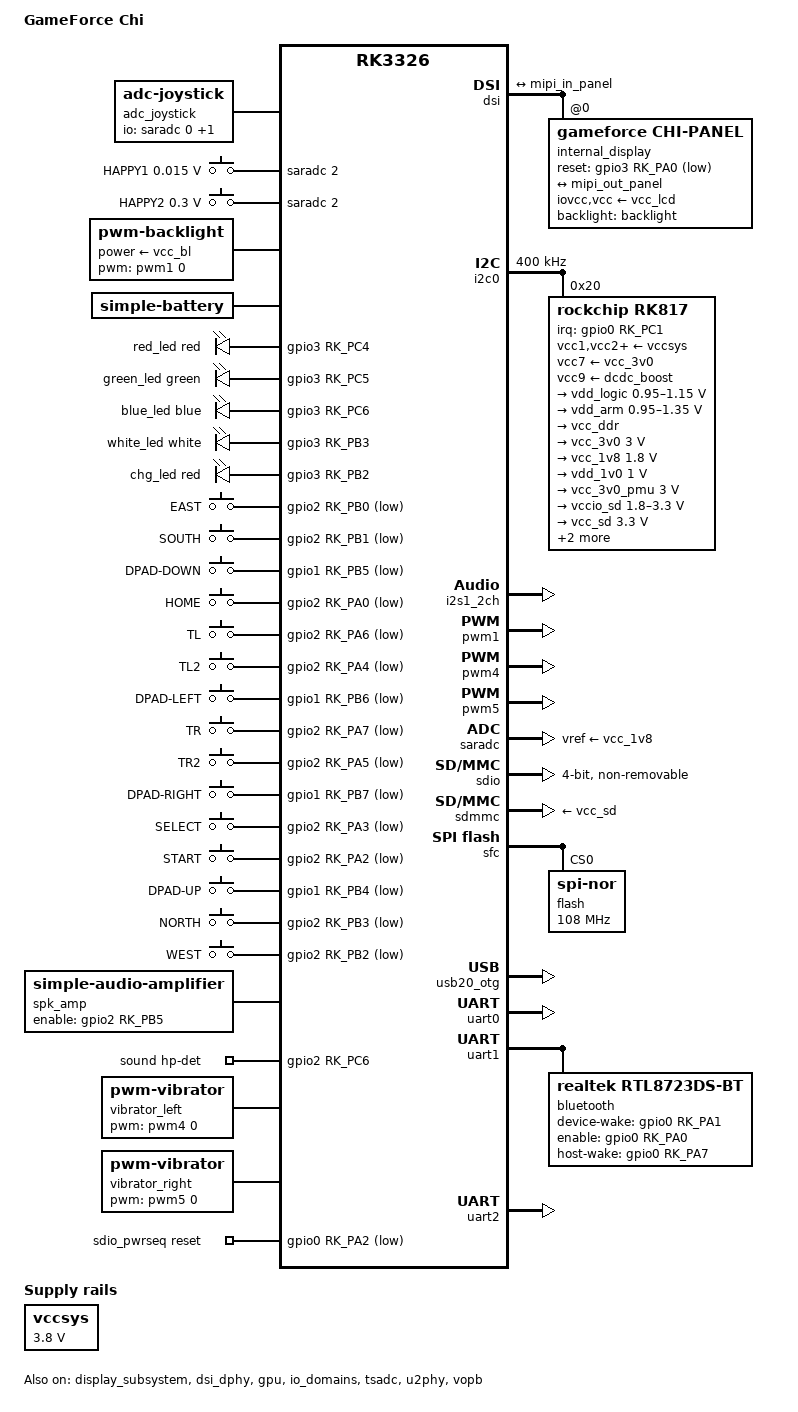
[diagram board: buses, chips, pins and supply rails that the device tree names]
// SPDX-License-Identifier: (GPL-2.0+ OR MIT)
/*
 * Copyright (c) 2024 Chris Morgan <macromorgan@hotmail.com>
 */

/dts-v1/;
#include <dt-bindings/gpio/gpio.h>
#include <dt-bindings/input/input.h>
#include <dt-bindings/leds/common.h>
#include <dt-bindings/pinctrl/rockchip.h>
#include "rk3326.dtsi"

/ {
	model = "GameForce Chi";
	compatible = "gameforce,chi", "rockchip,rk3326";
	chassis-type = "handset";

	aliases {
		mmc0 = &sdmmc;
		mmc1 = &sdio;
	};

	chosen {
		stdout-path = "serial2:115200n8";
	};

	adc_joystick: adc-joystick {
		compatible = "adc-joystick";
		io-channels = <&saradc 0>,
			      <&saradc 1>;
		poll-interval = <100>;
		#address-cells = <1>;
		#size-cells = <0>;

		axis@0 {
			reg = <0>;
			abs-flat = <10>;
			abs-fuzz = <10>;
			abs-range = <850 175>;
			linux,code = <ABS_Y>;
		};

		axis@1 {
			reg = <1>;
			abs-flat = <10>;
			abs-fuzz = <10>;
			abs-range = <800 190>;
			linux,code = <ABS_X>;
		};
	};

	adc_keys: adc-keys {
		compatible = "adc-keys";
		io-channels = <&saradc 2>;
		io-channel-names = "buttons";
		keyup-threshold-microvolt = <1800000>;
		poll-interval = <60>;

		button-1 {
			label = "HAPPY1";
			linux,code = <BTN_TRIGGER_HAPPY1>;
			press-threshold-microvolt = <15000>;
		};

		button-2 {
			label = "HAPPY2";
			linux,code = <BTN_TRIGGER_HAPPY2>;
			press-threshold-microvolt = <300000>;
		};
	};

	backlight: backlight {
		compatible = "pwm-backlight";
		power-supply = <&vcc_bl>;
		pwms = <&pwm1 0 25000 0>;
	};

	battery: battery {
		compatible = "simple-battery";
		charge-full-design-microamp-hours = <3000000>;
		charge-term-current-microamp = <300000>;
		constant-charge-current-max-microamp = <1500000>;
		constant-charge-voltage-max-microvolt = <4200000>;
		factory-internal-resistance-micro-ohms = <180000>;
		ocv-capacity-celsius = <20>;
		ocv-capacity-table-0 =  <4106000 100>, <4071000 95>, <4018000 90>, <3975000 85>,
					<3946000 80>, <3908000 75>, <3877000 70>, <3853000 65>,
					<3834000 60>, <3816000 55>, <3802000 50>, <3788000 45>,
					<3774000 40>, <3760000 35>, <3748000 30>, <3735000 25>,
					<3718000 20>, <3697000 15>, <3685000 10>, <3625000 5>,
					<3400000 0>;
		voltage-max-design-microvolt = <4250000>;
		voltage-min-design-microvolt = <3400000>;
	};

	gpio_leds: gpio-leds {
		compatible = "gpio-leds";
		pinctrl-names = "default";
		pinctrl-0 = <&led_pins>;

		red_led: led-0 {
			color = <LED_COLOR_ID_RED>;
			gpios = <&gpio3 RK_PC4 GPIO_ACTIVE_HIGH>;
		};

		green_led: led-1 {
			color = <LED_COLOR_ID_GREEN>;
			gpios = <&gpio3 RK_PC5 GPIO_ACTIVE_HIGH>;
		};

		blue_led: led-2 {
			color = <LED_COLOR_ID_BLUE>;
			gpios = <&gpio3 RK_PC6 GPIO_ACTIVE_HIGH>;
		};

		white_led: led-3 {
			color = <LED_COLOR_ID_WHITE>;
			function = LED_FUNCTION_STATUS;
			gpios = <&gpio3 RK_PB3 GPIO_ACTIVE_HIGH>;
		};

		chg_led: led-4 {
			color = <LED_COLOR_ID_RED>;
			function = LED_FUNCTION_CHARGING;
			gpios = <&gpio3 RK_PB2 GPIO_ACTIVE_HIGH>;
		};

	};

	gpio_keys: gpio-keys {
		compatible = "gpio-keys";
		pinctrl-0 = <&btn_pins_ctrl>;
		pinctrl-names = "default";

		button-a {
			gpios = <&gpio2 RK_PB0 GPIO_ACTIVE_LOW>;
			label = "EAST";
			linux,code = <BTN_EAST>;
		};

		button-b {
			gpios = <&gpio2 RK_PB1 GPIO_ACTIVE_LOW>;
			label = "SOUTH";
			linux,code = <BTN_SOUTH>;
		};

		button-down {
			gpios = <&gpio1 RK_PB5 GPIO_ACTIVE_LOW>;
			label = "DPAD-DOWN";
			linux,code = <BTN_DPAD_DOWN>;
		};

		button-home {
			gpios = <&gpio2 RK_PA0 GPIO_ACTIVE_LOW>;
			label = "HOME";
			linux,code = <BTN_MODE>;
		};

		button-l1 {
			gpios = <&gpio2 RK_PA6 GPIO_ACTIVE_LOW>;
			label = "TL";
			linux,code = <BTN_TL>;
		};

		button-l2 {
			gpios = <&gpio2 RK_PA4 GPIO_ACTIVE_LOW>;
			label = "TL2";
			linux,code = <BTN_TL2>;
		};

		button-left {
			gpios = <&gpio1 RK_PB6 GPIO_ACTIVE_LOW>;
			label = "DPAD-LEFT";
			linux,code = <BTN_DPAD_LEFT>;
		};

		button-r1 {
			gpios = <&gpio2 RK_PA7 GPIO_ACTIVE_LOW>;
			label = "TR";
			linux,code = <BTN_TR>;
		};

		button-r2 {
			gpios = <&gpio2 RK_PA5 GPIO_ACTIVE_LOW>;
			label = "TR2";
			linux,code = <BTN_TR2>;
		};

		button-right {
			gpios = <&gpio1 RK_PB7 GPIO_ACTIVE_LOW>;
			label = "DPAD-RIGHT";
			linux,code = <BTN_DPAD_RIGHT>;
		};

		button-select {
			gpios = <&gpio2 RK_PA3 GPIO_ACTIVE_LOW>;
			label = "SELECT";
			linux,code = <BTN_SELECT>;
		};

		button-start {
			gpios = <&gpio2 RK_PA2 GPIO_ACTIVE_LOW>;
			label = "START";
			linux,code = <BTN_START>;
		};

		button-up {
			gpios = <&gpio1 RK_PB4 GPIO_ACTIVE_LOW>;
			label = "DPAD-UP";
			linux,code = <BTN_DPAD_UP>;
		};

		button-x {
			gpios = <&gpio2 RK_PB3 GPIO_ACTIVE_LOW>;
			label = "NORTH";
			linux,code = <BTN_NORTH>;
		};

		button-y {
			gpios = <&gpio2 RK_PB2 GPIO_ACTIVE_LOW>;
			label = "WEST";
			linux,code = <BTN_WEST>;
		};
	};

	multi-led {
		compatible = "leds-group-multicolor";
		color = <LED_COLOR_ID_RGB>;
		function = LED_FUNCTION_KBD_BACKLIGHT;
		leds = <&red_led>, <&green_led>, <&blue_led>;
	};

	spk_amp: audio-amplifier {
		compatible = "simple-audio-amplifier";
		enable-gpios = <&gpio2 RK_PB5 GPIO_ACTIVE_HIGH>;
		pinctrl-0 = <&spk_amp_enable_h>;
		pinctrl-names = "default";
		sound-name-prefix = "Speaker Amp";
	};

	sound {
		compatible = "simple-audio-card";
		pinctrl-0 = <&hp_det>;
		pinctrl-names = "default";
		simple-audio-card,name = "rk817_ext";
		simple-audio-card,aux-devs = <&spk_amp>;
		simple-audio-card,format = "i2s";
		simple-audio-card,hp-det-gpio = <&gpio2 RK_PC6 GPIO_ACTIVE_HIGH>;
		simple-audio-card,mclk-fs = <256>;
		simple-audio-card,widgets =
			"Microphone", "Mic Jack",
			"Headphone", "Headphones",
			"Speaker", "Internal Speakers";
		simple-audio-card,routing =
			"MICL", "Mic Jack",
			"Headphones", "HPOL",
			"Headphones", "HPOR",
			"Internal Speakers", "Speaker Amp OUTL",
			"Internal Speakers", "Speaker Amp OUTR",
			"Speaker Amp INL", "HPOL",
			"Speaker Amp INR", "HPOR";
		simple-audio-card,pin-switches = "Internal Speakers";

		simple-audio-card,codec {
			sound-dai = <&rk817>;
		};

		simple-audio-card,cpu {
			sound-dai = <&i2s1_2ch>;
		};
	};

	vibrator_left: pwm-vibrator-l {
		compatible = "pwm-vibrator";
		pwm-names = "enable";
		pwms = <&pwm4 0 25000 0>;
	};

	vibrator_right: pwm-vibrator-r {
		compatible = "pwm-vibrator";
		pwm-names = "enable";
		pwms = <&pwm5 0 25000 0>;
	};

	sdio_pwrseq: sdio-pwrseq {
		compatible = "mmc-pwrseq-simple";
		clocks = <&rk817 1>;
		clock-names = "ext_clock";
		pinctrl-0 = <&wifi_enable_h>;
		pinctrl-names = "default";
		post-power-on-delay-ms = <200>;
		reset-gpios = <&gpio0 RK_PA2 GPIO_ACTIVE_LOW>;
	};

	vccsys: vccsys-regulator {
		compatible = "regulator-fixed";
		regulator-name = "vcc3v8_sys";
		regulator-always-on;
		regulator-min-microvolt = <3800000>;
		regulator-max-microvolt = <3800000>;
	};
};

&cpu0 {
	cpu-supply = <&vdd_arm>;
};

&cpu1 {
	cpu-supply = <&vdd_arm>;
};

&cpu2 {
	cpu-supply = <&vdd_arm>;
};

&cpu3 {
	cpu-supply = <&vdd_arm>;
};

&display_subsystem {
	status = "okay";
};

&dsi {
	status = "okay";

	internal_display: panel@0 {
		reg = <0>;
		compatible = "gameforce,chi-panel";
		backlight = <&backlight>;
		iovcc-supply = <&vcc_lcd>;
		vcc-supply = <&vcc_lcd>;
		reset-gpios = <&gpio3 RK_PA0 GPIO_ACTIVE_LOW>;

		port {
			mipi_in_panel: endpoint {
				remote-endpoint = <&mipi_out_panel>;
			};
		};
	};

	ports {
		mipi_out: port@1 {
			reg = <1>;

			mipi_out_panel: endpoint {
				remote-endpoint = <&mipi_in_panel>;
			};
		};
	};
};

&dsi_dphy {
	status = "okay";
};

&gpu {
	mali-supply = <&vdd_logic>;
	status = "okay";
};

&i2c0 {
	clock-frequency = <400000>;
	i2c-scl-falling-time-ns = <16>;
	i2c-scl-rising-time-ns = <280>;
	status = "okay";

	rk817: pmic@20 {
		compatible = "rockchip,rk817";
		reg = <0x20>;
		#clock-cells = <1>;
		clock-names = "mclk";
		clock-output-names = "rk808-clkout1", "xin32k";
		clocks = <&cru SCLK_I2S1_OUT>;
		interrupt-parent = <&gpio0>;
		interrupts = <RK_PC1 IRQ_TYPE_LEVEL_LOW>;
		pinctrl-0 = <&pmic_int>, <&i2s1_2ch_mclk>;
		pinctrl-names = "default";
		#sound-dai-cells = <0>;
		system-power-controller;
		wakeup-source;

		vcc1-supply = <&vccsys>;
		vcc2-supply = <&vccsys>;
		vcc3-supply = <&vccsys>;
		vcc4-supply = <&vccsys>;
		vcc5-supply = <&vccsys>;
		vcc6-supply = <&vccsys>;
		vcc7-supply = <&vcc_3v0>;
		vcc8-supply = <&vccsys>;
		vcc9-supply = <&dcdc_boost>;

		regulators {
			vdd_logic: DCDC_REG1 {
				regulator-always-on;
				regulator-boot-on;
				regulator-max-microvolt = <1150000>;
				regulator-min-microvolt = <950000>;
				regulator-name = "vdd_logic";
				regulator-ramp-delay = <6001>;

				regulator-state-mem {
					regulator-on-in-suspend;
					regulator-suspend-microvolt = <950000>;
				};
			};

			vdd_arm: DCDC_REG2 {
				regulator-always-on;
				regulator-boot-on;
				regulator-max-microvolt = <1350000>;
				regulator-min-microvolt = <950000>;
				regulator-name = "vdd_arm";
				regulator-ramp-delay = <6001>;

				regulator-state-mem {
					regulator-off-in-suspend;
					regulator-suspend-microvolt = <950000>;
				};
			};

			vcc_ddr: DCDC_REG3 {
				regulator-always-on;
				regulator-boot-on;
				regulator-name = "vcc_ddr";

				regulator-state-mem {
					regulator-on-in-suspend;
				};
			};

			vcc_3v0: DCDC_REG4 {
				regulator-always-on;
				regulator-boot-on;
				regulator-max-microvolt = <3000000>;
				regulator-min-microvolt = <3000000>;
				regulator-name = "vcc_3v0";

				regulator-state-mem {
					regulator-off-in-suspend;
					regulator-suspend-microvolt = <3000000>;
				};
			};

			vcc_1v8: LDO_REG2 {
				regulator-always-on;
				regulator-boot-on;
				regulator-max-microvolt = <1800000>;
				regulator-min-microvolt = <1800000>;
				regulator-name = "vcc_1v8";

				regulator-state-mem {
					regulator-on-in-suspend;
					regulator-suspend-microvolt = <1800000>;
				};
			};

			vdd_1v0: LDO_REG3 {
				regulator-always-on;
				regulator-boot-on;
				regulator-max-microvolt = <1000000>;
				regulator-min-microvolt = <1000000>;
				regulator-name = "vdd_1v0";

				regulator-state-mem {
					regulator-on-in-suspend;
					regulator-suspend-microvolt = <1000000>;
				};
			};

			vcc_3v0_pmu: LDO_REG4 {
				regulator-always-on;
				regulator-boot-on;
				regulator-max-microvolt = <3000000>;
				regulator-min-microvolt = <3000000>;
				regulator-name = "vcc_3v0_pmu";

				regulator-state-mem {
					regulator-on-in-suspend;
					regulator-suspend-microvolt = <3000000>;
				};
			};

			vccio_sd: LDO_REG5 {
				regulator-always-on;
				regulator-boot-on;
				regulator-max-microvolt = <3300000>;
				regulator-min-microvolt = <1800000>;
				regulator-name = "vccio_sd";

				regulator-state-mem {
					regulator-on-in-suspend;
					regulator-suspend-microvolt = <3300000>;
				};
			};

			vcc_sd: LDO_REG6 {
				regulator-boot-on;
				regulator-max-microvolt = <3300000>;
				regulator-min-microvolt = <3300000>;
				regulator-name = "vcc_sd";

				regulator-state-mem {
					regulator-on-in-suspend;
					regulator-suspend-microvolt = <3300000>;
				};
			};

			vcc_bl: LDO_REG7 {
				regulator-max-microvolt = <3300000>;
				regulator-min-microvolt = <3300000>;
				regulator-name = "vcc_bl";

				regulator-state-mem {
					regulator-off-in-suspend;
					regulator-suspend-microvolt = <3300000>;
				};
			};

			vcc_lcd: LDO_REG8 {
				regulator-max-microvolt = <2800000>;
				regulator-min-microvolt = <2800000>;
				regulator-name = "vcc_lcd";

				regulator-state-mem {
					regulator-off-in-suspend;
					regulator-suspend-microvolt = <2800000>;
				};
			};

			vcc_wifi: LDO_REG9 {
				regulator-always-on;
				regulator-boot-on;
				regulator-max-microvolt = <3300000>;
				regulator-min-microvolt = <3300000>;
				regulator-name = "vcc_wifi";

				regulator-state-mem {
					regulator-off-in-suspend;
					regulator-suspend-microvolt = <3300000>;
				};
			};

			dcdc_boost: BOOST {
				regulator-max-microvolt = <5000000>;
				regulator-min-microvolt = <5000000>;
				regulator-name = "dcdc_boost";

				regulator-state-mem {
					regulator-off-in-suspend;
				};
			};

			otg_switch: OTG_SWITCH {
				regulator-name = "otg_switch";

				regulator-state-mem {
					regulator-off-in-suspend;
				};
			};
		};

		rk817_charger: charger {
			monitored-battery = <&battery>;
			rockchip,resistor-sense-micro-ohms = <10000>;
			rockchip,sleep-enter-current-microamp = <300000>;
			rockchip,sleep-filter-current-microamp = <100000>;
		};
	};
};

&i2s1_2ch {
	status = "okay";
};

&io_domains {
	vccio1-supply = <&vcc_3v0_pmu>;
	vccio2-supply = <&vccio_sd>;
	vccio3-supply = <&vcc_3v0>;
	vccio4-supply = <&vcc_3v0>;
	vccio5-supply = <&vcc_3v0>;
	vccio6-supply = <&vcc_3v0>;
	status = "okay";
};

&pinctrl {
	bluetooth-pins {
		bt_reset: bt-reset {
			rockchip,pins =
				<0 RK_PA0 RK_FUNC_GPIO &pcfg_pull_down>;
		};

		bt_wake_dev: bt-wake-dev {
			rockchip,pins =
				<0 RK_PA1 RK_FUNC_GPIO &pcfg_pull_none>;
		};

		bt_wake_host: bt-wake-host {
			rockchip,pins =
				<0 RK_PA7 RK_FUNC_GPIO &pcfg_pull_none>;
		};
	};

	headphone {
		hp_det: hp-det {
			rockchip,pins =
				<2 RK_PC6 RK_FUNC_GPIO &pcfg_pull_up>;
		};
	};

	gpio-btns {
		btn_pins_ctrl: btn-pins-ctrl {
			rockchip,pins =
				<1 RK_PB4 RK_FUNC_GPIO &pcfg_pull_up>,
				<1 RK_PB5 RK_FUNC_GPIO &pcfg_pull_up>,
				<1 RK_PB6 RK_FUNC_GPIO &pcfg_pull_up>,
				<1 RK_PB7 RK_FUNC_GPIO &pcfg_pull_up>,
				<2 RK_PA0 RK_FUNC_GPIO &pcfg_pull_up>,
				<2 RK_PA2 RK_FUNC_GPIO &pcfg_pull_up>,
				<2 RK_PA3 RK_FUNC_GPIO &pcfg_pull_up>,
				<2 RK_PA4 RK_FUNC_GPIO &pcfg_pull_up>,
				<2 RK_PA5 RK_FUNC_GPIO &pcfg_pull_up>,
				<2 RK_PA6 RK_FUNC_GPIO &pcfg_pull_up>,
				<2 RK_PA7 RK_FUNC_GPIO &pcfg_pull_up>,
				<2 RK_PB0 RK_FUNC_GPIO &pcfg_pull_up>,
				<2 RK_PB1 RK_FUNC_GPIO &pcfg_pull_up>,
				<2 RK_PB2 RK_FUNC_GPIO &pcfg_pull_up>,
				<2 RK_PB3 RK_FUNC_GPIO &pcfg_pull_up>;
		};
	};

	gpio-leds {
		led_pins: led-pins {
			rockchip,pins =
				<3 RK_PB2 RK_FUNC_GPIO &pcfg_pull_none>,
				<3 RK_PB3 RK_FUNC_GPIO &pcfg_pull_none>,
				<3 RK_PC4 RK_FUNC_GPIO &pcfg_pull_none>,
				<3 RK_PC5 RK_FUNC_GPIO &pcfg_pull_none>,
				<3 RK_PC6 RK_FUNC_GPIO &pcfg_pull_none>;
		};
	};

	pmic {
		pmic_int: pmic-int {
			rockchip,pins =
				<0 RK_PC1 RK_FUNC_GPIO &pcfg_pull_up>;
		};

		soc_slppin_gpio: soc_slppin_gpio {
			rockchip,pins =
				<0 RK_PA4 RK_FUNC_GPIO &pcfg_output_low>;
		};

		soc_slppin_rst: soc_slppin_rst {
			rockchip,pins =
				<0 RK_PA4 2 &pcfg_pull_none>;
		};

		soc_slppin_slp: soc_slppin_slp {
			rockchip,pins =
				<0 RK_PA4 1 &pcfg_pull_none>;
		};
	};

	sdio-pwrseq {
		wifi_enable_h: wifi-enable-h {
			rockchip,pins =
				<0 RK_PA2 RK_FUNC_GPIO &pcfg_pull_none>;
		};
	};

	speaker {
		spk_amp_enable_h: spk-amp-enable-h {
			rockchip,pins =
				<2 RK_PB5 RK_FUNC_GPIO &pcfg_pull_none>;
		};
	};
};

&pmu_io_domains {
	pmuio1-supply = <&vcc_1v8>;
	pmuio2-supply = <&vcc_3v0_pmu>;
	status = "okay";
};

&pwm1 {
	status = "okay";
};

&pwm4 {
	status = "okay";
};

&pwm5 {
	status = "okay";
};

&saradc {
	vref-supply = <&vcc_1v8>;
	status = "okay";
};

&sdio {
	bus-width = <4>;
	cap-sd-highspeed;
	cap-sdio-irq;
	disable-wp;
	keep-power-in-suspend;
	mmc-pwrseq = <&sdio_pwrseq>;
	no-mmc;
	no-sd;
	non-removable;
	sd-uhs-sdr104;
	status = "okay";
};

&sdmmc {
	cap-mmc-highspeed;
	cap-sd-highspeed;
	no-sdio;
	sd-uhs-sdr12;
	sd-uhs-sdr25;
	sd-uhs-sdr50;
	sd-uhs-sdr104;
	vmmc-supply = <&vcc_sd>;
	vqmmc-supply = <&vccio_sd>;
	status = "okay";
};

&sfc {
	#address-cells = <1>;
	pinctrl-0 = <&sfc_clk &sfc_cs0 &sfc_bus2>;
	pinctrl-names = "default";
	#size-cells = <0>;
	status = "okay";

	flash@0 {
		compatible = "jedec,spi-nor";
		reg = <0>;
		spi-max-frequency = <108000000>;
		spi-rx-bus-width = <2>;
		spi-tx-bus-width = <1>;
	};
};

&tsadc {
	status = "okay";
};

&u2phy {
	status = "okay";

	u2phy_otg: otg-port {
		status = "okay";
	};
};

&usb20_otg {
	status = "okay";
};

/*
 * The right ADC joystick exists connected to an unknown ADC
 * controller which can be communicated with via uart0. This ADC device
 * is an 8-pin SOIC with no markings located right next to the left ADC
 * joystick ribbon cable. The pinout for this ADC controller appears to
 * be pin 1 - VCC (2.8v), pin 2 - 1.8v (clk maybe?), pin 3 - GPIO 10,
 * pin 4 - unknown, pin 5 - unknown, pin 6 - analog in, pin 7 - analog in,
 * pin 8 - ground. There is currently a userspace UART driver for this
 * device but it only works with the BSP joystick driver.
 */
&uart0 {
	status = "okay";
};

/*
 * Bluetooth was not working on BSP and is not currently working on
 * mainline due to missing firmware. Bluetooth requires removal of DMA
 * or else it will not probe.
 */
&uart1 {
	/delete-property/ dma-names;
	/delete-property/ dmas;
	uart-has-rtscts;
	status = "okay";

	bluetooth: bluetooth {
		compatible = "realtek,rtl8723ds-bt";
		device-wake-gpios = <&gpio0 RK_PA1 GPIO_ACTIVE_HIGH>;
		enable-gpios = <&gpio0 RK_PA0 GPIO_ACTIVE_HIGH>;
		host-wake-gpios = <&gpio0 RK_PA7 GPIO_ACTIVE_HIGH>;
		pinctrl-0 = <&bt_reset>, <&bt_wake_dev>, <&bt_wake_host>;
		pinctrl-names = "default";
	};
};

&uart2 {
	pinctrl-0 = <&uart2m1_xfer>;
	pinctrl-names = "default";
	status = "okay";
};

&vopb {
	status = "okay";
};

&vopb_mmu {
	status = "okay";
};
